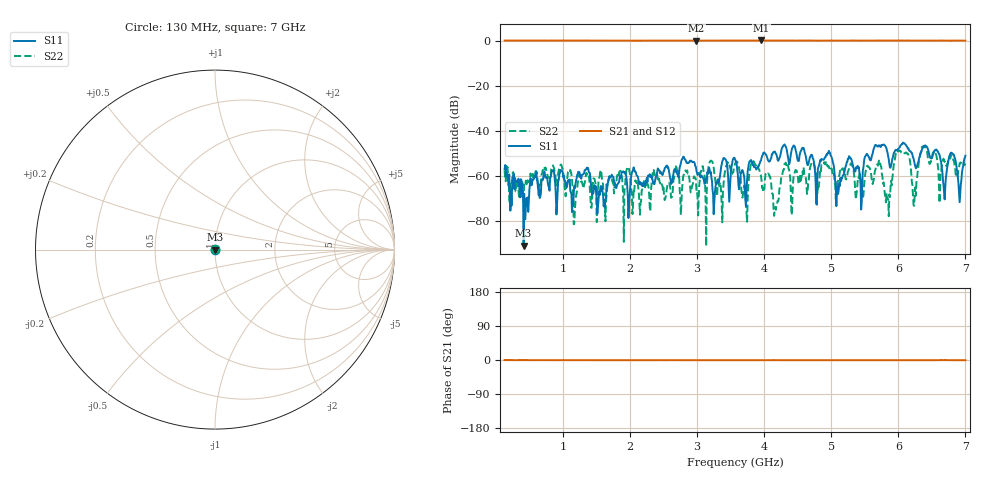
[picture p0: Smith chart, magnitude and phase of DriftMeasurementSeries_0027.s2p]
# Hz S RI R 50.000000
! Metas.Vna.Tools, 2.8.8664.20301
! Metas.Vna.Data, 2.8.8664.20285
! Created: UTC 2024.02.11 10:08:14
! FREQ  re:S1,1  im:S1,1  re:S2,1  im:S2,1  re:S1,2  im:S1,2  re:S2,2  im:S2,2
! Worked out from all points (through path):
!   801 points, 130 MHz to 7 GHz, reference 50 ohm
!   highest |S21| = 0.03 dB at 3.96 GHz (marker M1); lowest = -0.1 dB at 2.99 GHz (marker M2)
!   lowest |S11| = -90.9 dB at 413.4 MHz (marker M3), VSWR 1.00, Z = 50 + j0.00281 ohm
!   |S11| at or under -10 dB: start of sweep to end of sweep
!   |S22| runs from -91.1 to -46.7 dB; largest |S21 - S12| = 0.0093
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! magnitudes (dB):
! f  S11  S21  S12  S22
! 130 MHz  -56.9  0.0  0.0  -57.5
! 413.4 MHz  -90.9  0.0  0.0  -70.8
! 1.281 GHz  -59.6  0.0  0.0  -62.4
! 2.423 GHz  -57.3  0.0  0.0  -62.5
! 2.99 GHz  -57.6  -0.1  0.0  -66.2
! 3.264 GHz  -67.9  0.0  0.0  -60.1
! 3.565 GHz  -52.5  0.0  0.0  -54.5
! 3.711 GHz  -64.2  0.0  0.0  -67.1
! 3.823 GHz  -54.0  0.0  0.0  -53.9
! 3.96 GHz  -52.0  0.0  0.0  -61.9
! 4.175 GHz  -50.2  0.0  0.0  -74.9
! 4.321 GHz  -46.9  0.0  0.0  -54.1
! 4.716 GHz  -50.8  0.0  0.0  -53.9
! 4.982 GHz  -49.8  0.0  0.0  -56.1
! 5.094 GHz  -66.5  0.0  0.0  -64.2
! 5.703 GHz  -46.7  0.0  0.0  -54.3
! 5.858 GHz  -52.8  0.0  0.0  -77.8
! 6.004 GHz  -47.9  0.0  0.0  -48.5
! 6.236 GHz  -53.5  0.0  0.0  -73.2
! 6.382 GHz  -47.0  0.0  0.0  -47.0
! 6.682 GHz  -67.5  0.0  0.0  -52.8
! 7 GHz  -51.0  -0.1  0.0  -55.2
